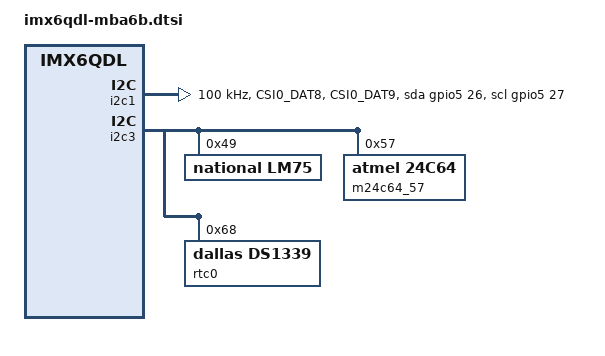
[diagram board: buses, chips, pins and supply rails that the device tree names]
// SPDX-License-Identifier: GPL-2.0-only
/*
 * Copyright 2013 Sascha Hauer, Pengutronix
 *
 * Copyright 2013-2021 TQ-Systems GmbH
 * Author: Markus Niebel <Markus.Niebel@tq-group.com>
 */

&fec {
	pinctrl-names = "default";
	pinctrl-0 = <&pinctrl_enet>;
};

&i2c1 {
	clock-frequency = <100000>;
	pinctrl-names = "default", "gpio";
	pinctrl-0 = <&pinctrl_i2c1>;
	pinctrl-1 = <&pinctrl_i2c1_recovery>;
	scl-gpios = <&gpio5 27 (GPIO_ACTIVE_HIGH | GPIO_OPEN_DRAIN)>;
	sda-gpios = <&gpio5 26 (GPIO_ACTIVE_HIGH | GPIO_OPEN_DRAIN)>;
	status = "okay";
};

&i2c3 {
	lm75: temperature-sensor@49 {
		compatible = "national,lm75";
		reg = <0x49>;
	};

	m24c64_57: eeprom@57 {
		compatible = "atmel,24c64";
		reg = <0x57>;
		pagesize = <32>;
		#address-cells = <1>;
		#size-cells = <1>;

		mba_mac_address: mac-address@20 {
			reg = <0x20 0x6>;
		};
	};

	rtc0: rtc@68 {
		compatible = "dallas,ds1339";
		reg = <0x68>;
	};
};

&iomuxc {
	pinctrl_i2c1: i2c1grp {
		fsl,pins = <
			MX6QDL_PAD_CSI0_DAT8__I2C1_SDA 0x4001b899
			MX6QDL_PAD_CSI0_DAT9__I2C1_SCL 0x4001b899
		>;
	};
};
